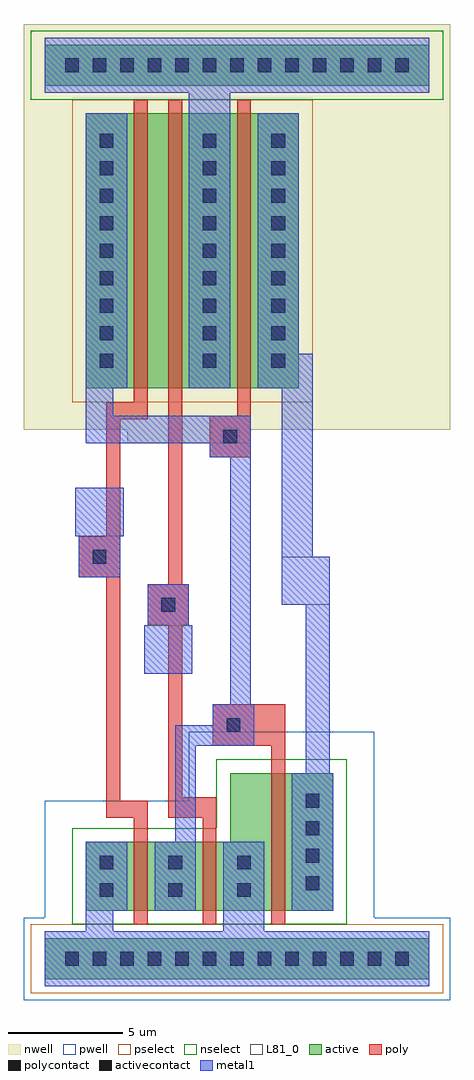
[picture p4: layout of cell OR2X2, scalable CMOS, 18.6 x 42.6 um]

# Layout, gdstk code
import gdstk
lib = gdstk.Library(unit=1e-6, precision=1e-09)
def R(c, l, rs):  # rectangles x0, y0, x1, y1
    for r in rs: c.add(gdstk.rectangle(r[:2], r[2:], *l))
def A(c, l, x, y, w, h, nx, ny, dx, dy):  # array of equal rectangles
    R(c, l, [(x+i*dx, y+j*dy, x+i*dx+w, y+j*dy+h) for i in range(nx) for j in range(ny)])
pwell = (41, 0)
nwell = (42, 0)
active = (43, 0)
pselect = (44, 0)
nselect = (45, 0)
poly = (46, 0)
polycontact = (47, 0)
activecontact = (48, 0)
metal1 = (49, 0)
L81_0 = (81, 0)

or2x2 = lib.new_cell('OR2X2')
R(or2x2, pwell, [(-1.8,-1.8,16.8,1.8), (-0.9,1.8,13.5,6.9), (5.4,6.9,13.5,9.9)])
R(or2x2, nwell, [(2.7,22.5,8.1,23.1), (-1.8,23.1,16.8,40.8)])
R(or2x2, active, [(-0.9,-0.9,15.9,0.9), (0.9,2.1,11.7,5.1), (7.2,5.1,11.7,8.1), (0.9,24.9,10.2,36.9), (-0.9,38.1,15.9,39.9)])
R(or2x2, pselect, [(-1.5,-1.5,16.5,1.5), (0.3,24.3,10.8,37.5)])
R(or2x2, nselect, [(0.3,1.5,12.3,5.7), (6.6,5.7,12.3,8.7), (-1.5,37.5,16.5,40.5)])
R(or2x2, poly, [(3,1.5,3.6,6.15), (6,1.5,6.6,6.15), (9,1.5,9.6,9.3), (1.8,6.15,3.6,6.9), (4.5,6.15,6.6,7.05), (1.8,6.9,2.4,16.65), (4.5,7.05,5.1,14.55), (6.45,9.3,9.6,11.1), (3.6,14.55,5.4,16.35), (4.5,16.35,5.1,37.5), (0.6,16.65,2.4,18.45), (1.8,18.45,2.4,23.55), (6.3,21.9,8.1,23.7), (1.8,23.55,3.6,24.3), (7.5,23.7,8.1,37.5), (3,24.3,3.6,37.5)])
R(or2x2, polycontact, [(7.05,9.9,7.65,10.5), (4.2,15.15,4.8,15.75), (1.2,17.25,1.8,17.85), (6.9,22.5,7.5,23.1)])
A(or2x2, activecontact, 0, -0.3, 0.6, 0.6, 13, 2, 1.2, 39)
A(or2x2, activecontact, 1.5, 2.7, 0.6, 0.6, 3, 2, 3, 1.2)
A(or2x2, activecontact, 10.5, 3, 0.6, 0.6, 1, 4, 0, 1.2)
A(or2x2, activecontact, 1.5, 25.8, 0.6, 0.6, 1, 9, 0, 1.2)
A(or2x2, activecontact, 6, 25.8, 0.6, 0.6, 1, 9, 0, 1.2)
A(or2x2, activecontact, 9, 25.8, 0.6, 0.6, 1, 9, 0, 1.2)
R(or2x2, metal1, [(-0.9,-1.2,15.9,1.2), (0.9,1.2,2.1,2.1), (6.9,1.2,8.7,5.1), (0.9,2.1,2.7,5.1), (3.9,2.1,5.7,5.1), (9.9,2.1,11.7,8.1), (4.8,5.1,5.7,9.3), (10.5,8.1,11.55,15.45), (4.8,9.3,8.25,10.2), (6.45,10.2,8.25,11.1), (7.2,11.1,8.1,21.9), (3.45,12.45,5.55,14.55), (3.6,14.55,5.4,16.35), (9.45,15.45,11.55,17.55), (0.6,16.65,2.4,18.45), (9.45,17.55,10.8,24.9), (0.45,18.45,2.55,20.55), (6.3,21.9,8.1,22.5), (0.9,22.5,8.1,23.7), (0.9,23.7,2.1,24.9), (0.9,24.9,2.7,36.9), (5.4,24.9,7.2,37.8), (8.4,24.9,10.8,26.4), (8.4,26.4,10.2,36.9), (-0.9,37.8,15.9,40.2)])
R(or2x2, L81_0, [(3.45,12.45,5.55,14.55), (9.45,15.45,11.55,17.55), (0.45,18.45,2.55,20.55)])

lib.write_gds('OR2X2.gds')
